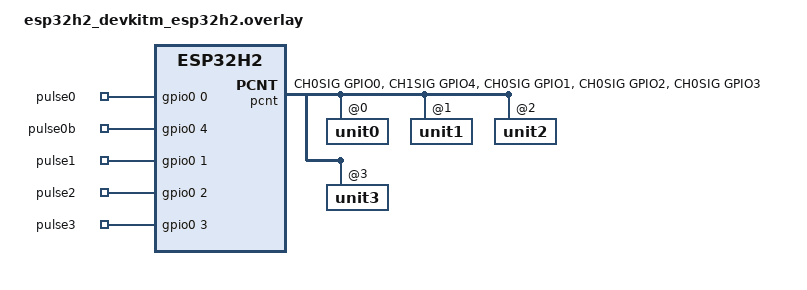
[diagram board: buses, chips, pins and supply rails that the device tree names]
/*
 * SPDX-License-Identifier: Apache-2.0
 *
 * Copyright (c) 2026 Espressif Systems (Shanghai) Co., Ltd.
 *
 * ESP32-H2 DevKitM self-loopback test overlay. The H2 PCNT input matrix
 * only reaches GPIOs 0-5, 8-14, 22-27 (board i2c0/i2c1/i2s are disabled
 * by default so 0-5 are free at runtime even though their pinctrl groups
 * exist).
 */

/ {
	aliases {
		qdec0 = &pcnt;
		pulse0 = &pulse0_alias;
		pulse0b = &pulse0b_alias;
		pulse1 = &pulse1_alias;
		pulse2 = &pulse2_alias;
		pulse3 = &pulse3_alias;
	};

	pulse_aliases {
		compatible = "gpio-keys";

		pulse0_alias: pulse0_alias {
			gpios = <&gpio0 0 GPIO_ACTIVE_HIGH>;
			label = "pulse0";
		};

		pulse0b_alias: pulse0b_alias {
			gpios = <&gpio0 4 GPIO_ACTIVE_HIGH>;
			label = "pulse0b";
		};

		pulse1_alias: pulse1_alias {
			gpios = <&gpio0 1 GPIO_ACTIVE_HIGH>;
			label = "pulse1";
		};

		pulse2_alias: pulse2_alias {
			gpios = <&gpio0 2 GPIO_ACTIVE_HIGH>;
			label = "pulse2";
		};

		pulse3_alias: pulse3_alias {
			gpios = <&gpio0 3 GPIO_ACTIVE_HIGH>;
			label = "pulse3";
		};
	};
};

&pinctrl {
	pcnt_default: pcnt_default {
		group1 {
			pinmux = <PCNT0_CH0SIG_GPIO0>,
				 <PCNT0_CH1SIG_GPIO4>,
				 <PCNT1_CH0SIG_GPIO1>,
				 <PCNT2_CH0SIG_GPIO2>,
				 <PCNT3_CH0SIG_GPIO3>;
		};
	};
};

&pcnt {
	pinctrl-0 = <&pcnt_default>;
	pinctrl-names = "default";
	status = "okay";
	#address-cells = <1>;
	#size-cells = <0>;

	unit0@0 {
		reg = <0>;
		#address-cells = <1>;
		#size-cells = <0>;
		counts-per-revolution = <400>;

		channelA@0 {
			reg = <0>;
			sig-pos-mode = <1>;
			sig-neg-mode = <0>;
			ctrl-h-mode = <0>;
			ctrl-l-mode = <0>;
		};

		channelB@1 {
			reg = <1>;
			sig-pos-mode = <2>;
			sig-neg-mode = <0>;
			ctrl-h-mode = <0>;
			ctrl-l-mode = <0>;
		};
	};

	unit1@1 {
		reg = <1>;
		#address-cells = <1>;
		#size-cells = <0>;

		channelA@0 {
			reg = <0>;
			sig-pos-mode = <1>;
			sig-neg-mode = <0>;
			ctrl-h-mode = <0>;
			ctrl-l-mode = <0>;
		};
	};

	unit2@2 {
		reg = <2>;
		#address-cells = <1>;
		#size-cells = <0>;
		high-limit = <10>;

		channelA@0 {
			reg = <0>;
			sig-pos-mode = <1>;
			sig-neg-mode = <0>;
			ctrl-h-mode = <0>;
			ctrl-l-mode = <0>;
		};
	};

	unit3@3 {
		reg = <3>;
		#address-cells = <1>;
		#size-cells = <0>;
		zero-cross-event;

		channelA@0 {
			reg = <0>;
			sig-pos-mode = <1>;
			sig-neg-mode = <0>;
			ctrl-h-mode = <0>;
			ctrl-l-mode = <0>;
		};
	};
};
